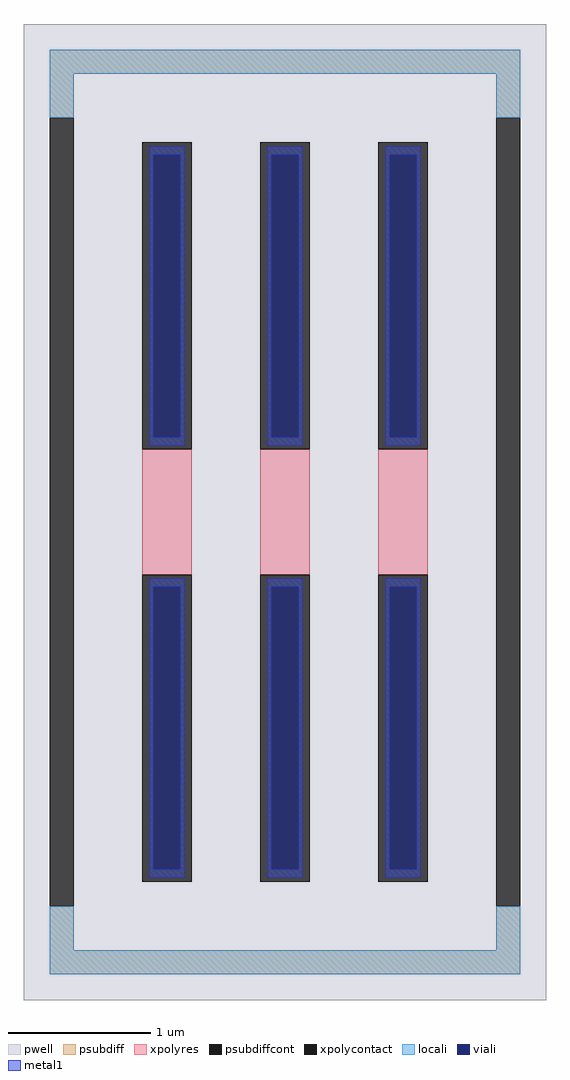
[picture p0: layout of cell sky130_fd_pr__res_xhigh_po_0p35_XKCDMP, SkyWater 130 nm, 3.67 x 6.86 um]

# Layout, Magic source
magic
tech sky130A
magscale 1 2
<< pwell >>
rect -367 -686 367 686
<< psubdiff >>
rect -331 616 331 650
rect -331 554 -297 616
rect 297 554 331 616
rect -331 -616 -297 -554
rect 297 -616 331 -554
rect -331 -650 331 -616
<< psubdiffcont >>
rect -331 -554 -297 554
rect 297 -554 331 554
<< xpolycontact >>
rect -201 88 -131 520
rect -201 -520 -131 -88
rect -35 88 35 520
rect -35 -520 35 -88
rect 131 88 201 520
rect 131 -520 201 -88
<< xpolyres >>
rect -201 -88 -131 88
rect -35 -88 35 88
rect 131 -88 201 88
<< locali >>
rect -331 616 331 650
rect -331 554 -297 616
rect 297 554 331 616
rect -331 -616 -297 -554
rect 297 -616 331 -554
rect -331 -650 331 -616
<< viali >>
rect -185 105 -147 502
rect -19 105 19 502
rect 147 105 185 502
rect -185 -502 -147 -105
rect -19 -502 19 -105
rect 147 -502 185 -105
<< metal1 >>
rect -191 502 -141 514
rect -191 105 -185 502
rect -147 105 -141 502
rect -191 93 -141 105
rect -25 502 25 514
rect -25 105 -19 502
rect 19 105 25 502
rect -25 93 25 105
rect 141 502 191 514
rect 141 105 147 502
rect 185 105 191 502
rect 141 93 191 105
rect -191 -105 -141 -93
rect -191 -502 -185 -105
rect -147 -502 -141 -105
rect -191 -514 -141 -502
rect -25 -105 25 -93
rect -25 -502 -19 -105
rect 19 -502 25 -105
rect -25 -514 25 -502
rect 141 -105 191 -93
rect 141 -502 147 -105
rect 185 -502 191 -105
rect 141 -514 191 -502
<< properties >>
string FIXED_BBOX -314 -633 314 633
string gencell sky130_fd_pr__res_xhigh_po_0p35
string library sky130
string parameters w 0.350 l 1.04 m 1 nx 3 wmin 0.350 lmin 0.50 rho 2000 val 7.018k dummy 0 dw 0.0 term 188.2 sterm 0.0 caplen 0 wmax 0.350 guard 1 glc 1 grc 1 gtc 0 gbc 0 compatible {sky130_fd_pr__res_xhigh_po_0p35  sky130_fd_pr__res_xhigh_po_0p69 sky130_fd_pr__res_xhigh_po_1p41  sky130_fd_pr__res_xhigh_po_2p85 sky130_fd_pr__res_xhigh_po_5p73} snake 0 full_metal 1 n_guard 0 hv_guard 0 vias 1 viagb 0 viagt 0 viagl 0 viagr 0
<< end >>
